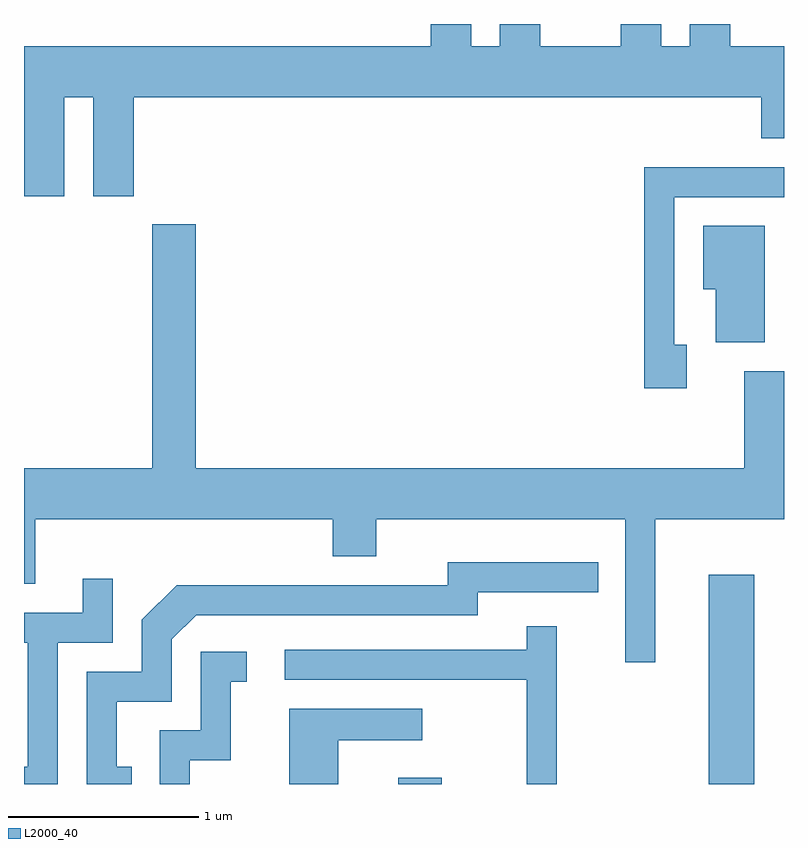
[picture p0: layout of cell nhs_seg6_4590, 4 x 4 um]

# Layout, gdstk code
import gdstk
lib = gdstk.Library(unit=1e-6, precision=1e-09)
def R(c, l, rs):  # rectangles x0, y0, x1, y1
    for r in rs: c.add(gdstk.rectangle(r[:2], r[2:], *l))
def P(c, l, *ps):  # polygons
    for p in ps: c.add(gdstk.Polygon(p, *l))
L2000_40 = (2000, 40)

nhs_seg6_4590 = lib.new_cell('nhs_seg6_4590')
R(nhs_seg6_4590, L2000_40, [(327.581,1584.162,327.809,1584.194), (329.216,1584.162,329.454,1585.264)])
P(nhs_seg6_4590, L2000_40, [(325.824,1587.776),(325.976,1587.776),(325.976,1587.256),(326.189,1587.256),(326.189,1587.776),(329.491,1587.776),(329.491,1587.561),(329.611,1587.561),(329.611,1588.044),(329.329,1588.044),(329.329,1588.162),(329.116,1588.162),(329.116,1588.044),(328.964,1588.044),(328.964,1588.162),(328.751,1588.162),(328.751,1588.044),(328.329,1588.044),(328.329,1588.162),(328.116,1588.162),(328.116,1588.044),(327.964,1588.044),(327.964,1588.162),(327.751,1588.162),(327.751,1588.044),(325.611,1588.044),(325.611,1587.256),(325.824,1587.256)],
  [(329.099,1586.474),(329.034,1586.474),(329.034,1587.251),(329.611,1587.251),(329.611,1587.409),(328.876,1587.409),(328.876,1586.246),(329.099,1586.246)],
  [(328.934,1585.556),(329.611,1585.556),(329.611,1586.334),(329.401,1586.334),(329.401,1585.824),(326.514,1585.824),(326.514,1587.109),(326.286,1587.109),(326.286,1585.824),(325.611,1585.824),(325.611,1585.216),(325.669,1585.216),(325.669,1585.556),(327.236,1585.556),(327.236,1585.361),(327.464,1585.361),(327.464,1585.556),(328.776,1585.556),(328.776,1584.803),(328.934,1584.803)],
  [(329.509,1587.099),(329.186,1587.099),(329.186,1586.766),(329.251,1586.766),(329.251,1586.486),(329.509,1586.486)],
  [(326.178,1584.254),(326.099,1584.254),(326.099,1584.596),(326.389,1584.596),(326.389,1584.924),(326.517,1585.051),(327.999,1585.051),(327.999,1585.171),(328.633,1585.171),(328.633,1585.329),(327.841,1585.329),(327.841,1585.209),(326.414,1585.209),(326.231,1585.027),(326.231,1584.754),(325.941,1584.754),(325.941,1584.162),(326.178,1584.162)],
  [(325.789,1584.906),(326.079,1584.906),(326.079,1585.243),(325.921,1585.243),(325.921,1585.064),(325.611,1585.064),(325.611,1584.906),(325.631,1584.906),(325.631,1584.254),(325.611,1584.254),(325.611,1584.162),(325.789,1584.162)],
  [(328.414,1584.993),(328.256,1584.993),(328.256,1584.869),(326.983,1584.869),(326.983,1584.711),(328.256,1584.711),(328.256,1584.162),(328.414,1584.162)],
  [(326.484,1584.286),(326.699,1584.286),(326.699,1584.701),(326.783,1584.701),(326.783,1584.859),(326.541,1584.859),(326.541,1584.444),(326.326,1584.444),(326.326,1584.162),(326.484,1584.162)],
  [(327.264,1584.391),(327.708,1584.391),(327.708,1584.559),(327.006,1584.559),(327.006,1584.162),(327.264,1584.162)])

lib.write_gds('nhs_seg6_4590.gds')
